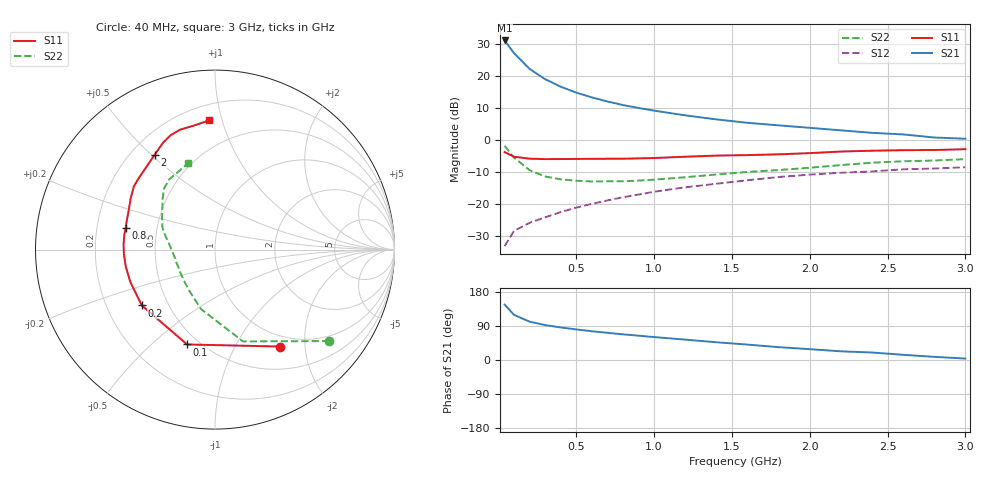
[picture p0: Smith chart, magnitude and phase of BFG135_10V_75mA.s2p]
! Filename:  BFG135D.S2P  Version:  2.0
! Philips part #: BFG135  Date: Jul 1990
! Bias condition: Vce=10V, Ic=75mA
#  MHz  S  MA  R  50
! Freq  S11  S21  S12  S22  !GUM [dB]
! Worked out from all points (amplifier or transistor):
!   21 points, 40 MHz to 3 GHz, reference 50 ohm
!   highest |S21| = 31.2 dB at 40 MHz (marker M1)
!   |S21| within 3 dB of that: start of sweep to 85.6 MHz
!   unconditionally stable (mu >= 1): 523.6 MHz to 2.987 GHz
!   at 300 MHz: K = 0.85, MSG = 21.6 dB, |S12| = -24.2 dB
!   at 1 GHz: K = 1.08, MAG = 10.9 dB, |S12| = -16.1 dB
!   at 3 GHz: K = 1.00, MSG = 4.5 dB, |S12| = -8.5 dB
!   S11 on the Smith chart (normalised r, x): 40 MHz: 0.83, -1.54; 100 MHz: 0.43, -0.65; 200 MHz: 0.35, -0.30; 800 MHz: 0.33, +0.11; 2 GHz: 0.29, +0.51; 3 GHz: 0.30, +0.91
40  0.65 -56.2  36.13 146.2  0.022 64.7  0.815 -38.7
100  0.551 -106.4  22.94 119.3  0.038 51.1  0.535 -73.0
200  0.513 -142.7  13.02 101.2  0.051 50.2  0.34 -103.3
300  0.505 -159.1  8.969 92.2  0.062 54.4  0.27 -122.1
400  0.506 -169.3  6.847 85.9  0.075 57.1  0.244 -135.7
500  0.508 -177.1  5.533 80.7  0.088 59.1  0.232 -146.2
600  0.51 177.0  4.655 75.9  0.101 60.0  0.226 -154.2
700  0.512 171.2  4.025 71.7  0.114 61.1  0.227 -161.0
800  0.512 166.4  3.536 67.7  0.128 61.1  0.227 -167.6
900  0.518 161.5  3.183 64.2  0.141 60.9  0.233 -173.5
1000  0.525 157.0  2.891 60.5  0.156 60.6  0.241 -179.2
1200  0.55 148.6  2.439 53.8  0.183 59.1  0.263 171.1
1400  0.573 142.0  2.11 46.8  0.208 57.1  0.29 163.7
1600  0.583 136.4  1.865 40.7  0.236 55.8  0.318 157.2
1800  0.6 129.2  1.702 33.9  0.265 51.5  0.341 149.9
2000  0.626 122.5  1.557 28.6  0.289 49.1  0.37 142.5
2200  0.663 115.8  1.422 22.9  0.309 46.0  0.407 135.8
2400  0.683 111.4  1.3 19.8  0.324 44.6  0.444 129.7
2600  0.696 106.2  1.228 13.7  0.35 40.4  0.467 123.1
2800  0.701 99.6  1.099 8.3  0.36 34.9  0.48 115.0
3000  0.721 92.5  1.052 3.8  0.377 32.6  0.505 107.1
